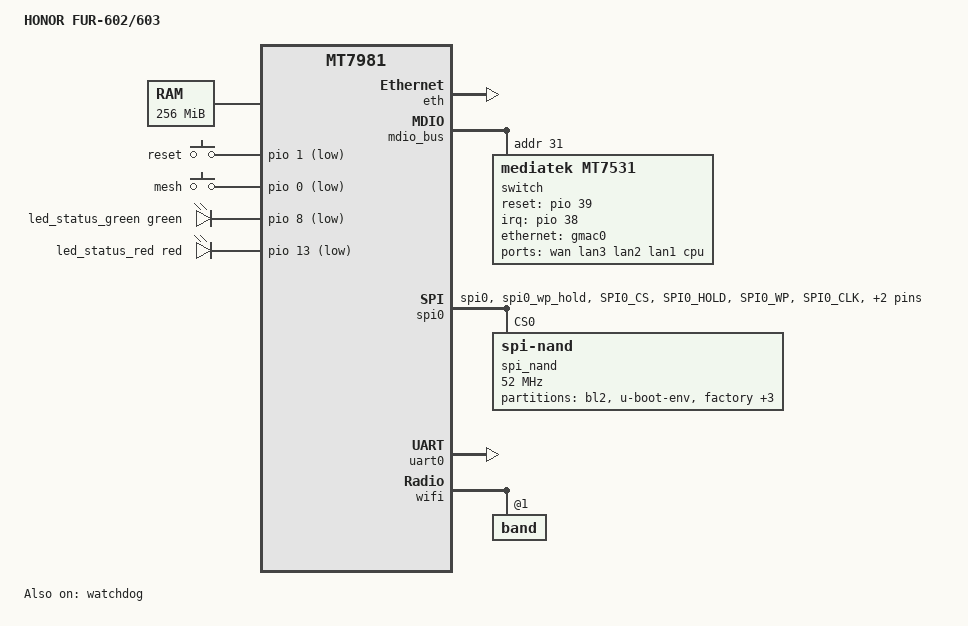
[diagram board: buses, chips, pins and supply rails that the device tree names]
// SPDX-License-Identifier: GPL-2.0-or-later OR MIT
//
// HONOR FUR-602 / FUR-603  (a.k.a. 荣耀 XU50 / XT50 / XC50, 联通定制版)
//   SoC   : MediaTek MT7981B (Filogic 820)
//   RAM   : 256 MiB DDR3
//   Flash : 128 MiB SPI-NAND, NMBM enabled
//   WLAN  : MT7981 2.4G 2x2 + MT7976CN 5G 2x2  = AX3000
//   ETH   : MT7531 switch, 1x 1G WAN + 3x 1G LAN, all behind gmac0
//
// ---------------------------------------------------------------------------
//  ImmortalWrt 25.12 variant (kernel 6.12) - CLOSED-SOURCE MTK WiFi (mt_wifi)
// ---------------------------------------------------------------------------
//  Baseline: chasey-dev/immortalwrt-mt798x-rebase @ branch 25.12
//            target/linux/mediatek, subtarget filogic, KERNEL_PATCHVER 6.12
//
//  This is the closed-source (MTK mt_wifi) counterpart of schema12's
//  open-source (mt76) device tree. The DTS must live in dts-ext/ and be
//  referenced by filogic-ext.mk with DEVICE_DTS_DIR := ../dts-ext.
//
//  Differences from the open-source variant:
//   1. WiFi EEPROM binding: nvmem-cells -> eeprom_factory_0 instead of the
//      mediatek,mtd-eeprom spelling. This is the convention used by every
//      closed-source device in the chasey tree (cf. cmcc-xr30-nand-mtkuboot,
//      cudy-tr3000-v1-mtkuboot, xiaomi-mi-router-ax3000t-mtkuboot).
//   2. 5G band MAC: band@1 consumes factory@0xa (mac-base), the MT7981
//      convention in closed-source trees; gmac0 keeps factory@0x2a and the
//      WAN switch port keeps factory@0x24 (verified against the open-source
//      25.12 device tree).
//
//  The three kernel-6.12 adaptations carried over from the open-source file:
//   1. #include "mt7981b.dtsi" instead of "mt7981.dtsi".
//   2. <dt-bindings/pinctrl/mt65xx.h> included explicitly.
//   3. memory node written as memory@40000000 with device_type = "memory".
//
//  Boot chain: unchanged. The bl-mt798x U-Boot boots the FIT out of the UBI
//  volume named "kernel" (KERNEL_IN_UBI=1), and platform.sh still routes an
//  unlisted board through the generic `nand_do_upgrade "$1"` fallback with
//  nand.sh's default CI_KERNPART=kernel / CI_ROOTPART=rootfs.
//
// Hardware facts cross-checked against:
//   1. hanwckf/bl-mt798x (mt7981_honor_fur-602 U-Boot, expand(114m) layout):
//      bl2|u-boot-env|factory|Trace|fip|ubi(116736k)
//   2. hanwckf/immortalwrt-mt798x @ openwrt-21.02: authoritative port wiring,
//      NMBM overlay, SPI calibration data.
//   3. schema12/honor-fur_602 @ migration/immortalwrt-25.12.2: the verified
//      6.12 adaptations above.
//
// Requires the hanwckf/bl-mt798x "mt7981_honor_fur-602" U-Boot (20241115 or
// the 20230718 build it is derived from) with the expand(114m) mtd layout.
// The stock HONOR U-Boot is signature-locked and cannot boot this firmware.
//
/dts-v1/;
#include <dt-bindings/gpio/gpio.h>
#include <dt-bindings/input/input.h>
#include <dt-bindings/leds/common.h>
#include <dt-bindings/pinctrl/mt65xx.h>

#include "mt7981b.dtsi"

/ {
	model = "HONOR FUR-602/603";
	compatible = "honor,fur-602", "mediatek,mt7981";

	aliases {
		serial0 = &uart0;
		label-mac-device = &gmac0;
		led-boot = &led_status_red;
		led-failsafe = &led_status_red;
		led-running = &led_status_green;
		led-upgrade = &led_status_green;
	};

	chosen {
		stdout-path = "serial0:115200n8";
	};

	memory@40000000 {
		device_type = "memory";
		reg = <0 0x40000000 0 0x10000000>;
	};

	gpio-keys {
		compatible = "gpio-keys";

		button-reset {
			label = "reset";
			linux,code = <KEY_RESTART>;
			gpios = <&pio 1 GPIO_ACTIVE_LOW>;
		};

		button-mesh {
			label = "mesh";
			linux,code = <BTN_9>;
			linux,input-type = <EV_SW>;
			gpios = <&pio 0 GPIO_ACTIVE_LOW>;
		};
	};

	leds {
		compatible = "gpio-leds";

		led_status_green: green {
			function = LED_FUNCTION_STATUS;
			color = <LED_COLOR_ID_GREEN>;
			gpios = <&pio 8 GPIO_ACTIVE_LOW>;
		};

		led_status_red: red {
			function = LED_FUNCTION_STATUS;
			color = <LED_COLOR_ID_RED>;
			gpios = <&pio 13 GPIO_ACTIVE_LOW>;
		};
	};
};

&eth {
	status = "okay";

	gmac0: mac@0 {
		compatible = "mediatek,eth-mac";
		reg = <0>;
		phy-mode = "2500base-x";

		nvmem-cells = <&macaddr_factory_2a>;
		nvmem-cell-names = "mac-address";

		fixed-link {
			speed = <2500>;
			full-duplex;
			pause;
		};
	};
};

&mdio_bus {
	switch: switch@1f {
		compatible = "mediatek,mt7531";
		reg = <31>;
		reset-gpios = <&pio 39 GPIO_ACTIVE_HIGH>;
		interrupt-controller;
		#interrupt-cells = <1>;
		interrupt-parent = <&pio>;
		interrupts = <38 IRQ_TYPE_LEVEL_HIGH>;
	};
};

&spi0 {
	pinctrl-names = "default";
	pinctrl-0 = <&spi0_flash_pins>;
	status = "okay";

	spi_nand: spi_nand@0 {
		compatible = "spi-nand";
		#address-cells = <1>;
		#size-cells = <1>;
		reg = <0>;

		spi-max-frequency = <52000000>;
		spi-tx-bus-width = <4>;
		spi-rx-bus-width = <4>;

		/*
		 * NMBM: matches CONFIG_ENABLE_NAND_NMBM=y in the bl-mt798x
		 * mt7981_honor_fur-602 U-Boot, which maps the whole chip through
		 * its own bad-block table. The BMT area is carved out of the
		 * top of the device, so the partitions below are the *free*
		 * area and must stay in sync with the U-Boot mtd-layout
		 * "expand(114m)" mtdparts string.
		 *
		 * Verified still supported on the 25.12 baseline: mtk_bmt.c
		 * (target/linux/generic/files/drivers/mtd/nand/) handles
		 * "mediatek,nmbm" -> mtk_bmt_nmbm_ops, and filogic/config-6.12
		 * carries CONFIG_MTD_NAND_MTK_BMT=y.
		 */
		mediatek,nmbm;
		mediatek,bmt-max-ratio = <1>;
		mediatek,bmt-max-reserved-blocks = <64>;

		/*
		 * SPI calibration data, taken verbatim from the hanwckf
		 * reference DTS for this board. Without it the SPI-NAND
		 * controller may sample at the wrong delay on this PCB.
		 */
		spi-cal-enable;
		spi-cal-mode = "read-data";
		spi-cal-datalen = <7>;
		spi-cal-data = /bits/ 8 <0x53 0x50 0x49 0x4E 0x41 0x4E 0x44>; /* 'SPINAND' */
		spi-cal-addrlen = <5>;
		spi-cal-addr = /bits/ 32 <0x0 0x0 0x0 0x0 0x0>;

		partitions {
			compatible = "fixed-partitions";
			#address-cells = <1>;
			#size-cells = <1>;

			partition@0 {
				label = "bl2";
				reg = <0x0000000 0x0100000>;
				read-only;
			};

			partition@100000 {
				label = "u-boot-env";
				reg = <0x0100000 0x0080000>;
			};

			factory: partition@180000 {
				label = "factory";
				reg = <0x0180000 0x01e0000>;
				read-only;

				nvmem-layout {
					compatible = "fixed-layout";
					#address-cells = <1>;
					#size-cells = <1>;

					eeprom_factory_0: eeprom@0 {
						reg = <0x0 0x1000>;
					};

					macaddr_factory_a: macaddr@a {
						compatible = "mac-base";
						reg = <0xa 0x6>;
					};

					macaddr_factory_24: macaddr@24 {
						reg = <0x24 0x6>;
					};

					macaddr_factory_2a: macaddr@2a {
						reg = <0x2a 0x6>;
					};
				};
			};

			partition@360000 {
				label = "trace";
				reg = <0x0360000 0x0020000>;
				read-only;
			};

			partition@380000 {
				label = "fip";
				reg = <0x0380000 0x0200000>;
				read-only;
			};

			partition@580000 {
				label = "ubi";
				reg = <0x0580000 0x7200000>;
			};
		};
	};
};

&switch {
	ports {
		#address-cells = <1>;
		#size-cells = <0>;

		port@0 {
			reg = <0>;
			label = "wan";
			nvmem-cells = <&macaddr_factory_24>;
			nvmem-cell-names = "mac-address";
		};

		port@1 {
			reg = <1>;
			label = "lan3";
		};

		port@2 {
			reg = <2>;
			label = "lan2";
		};

		port@3 {
			reg = <3>;
			label = "lan1";
		};

		port@6 {
			reg = <6>;
			label = "cpu";
			ethernet = <&gmac0>;
			phy-mode = "2500base-x";

			fixed-link {
				speed = <2500>;
				full-duplex;
				pause;
			};
		};
	};
};

&pio {
	spi0_flash_pins: spi0-pins {
		mux {
			function = "spi";
			groups = "spi0", "spi0_wp_hold";
		};

		conf-pu {
			pins = "SPI0_CS", "SPI0_HOLD", "SPI0_WP";
			drive-strength = <MTK_DRIVE_8mA>;
			bias-pull-up = <MTK_PUPD_SET_R1R0_11>;
		};

		conf-pd {
			pins = "SPI0_CLK", "SPI0_MOSI", "SPI0_MISO";
			drive-strength = <MTK_DRIVE_8mA>;
			bias-pull-down = <MTK_PUPD_SET_R1R0_11>;
		};
	};
};

&uart0 {
	status = "okay";
};

&watchdog {
	status = "okay";
};

&wifi {
	status = "okay";

	/*
	 * Closed-source (mt_wifi) EEPROM binding. The calibration blob is read
	 * from offset 0 of the "factory" partition through nvmem-cells, the
	 * convention used by every closed-source device in the chasey tree
	 * (cf. mt7981b-cmcc-xr30-nand-mtkuboot.dts). The 5G band MAC is taken
	 * from factory@0xa via a mac-base cell, matching the MT7981 closed-
	 * source convention; gmac0/WAN keep factory@0x2a / factory@0x24.
	 */
	nvmem-cells = <&eeprom_factory_0>;
	nvmem-cell-names = "eeprom";

	band@1 {
		reg = <1>;
		nvmem-cells = <&macaddr_factory_a 0>;
		nvmem-cell-names = "mac-address";
	};
};
